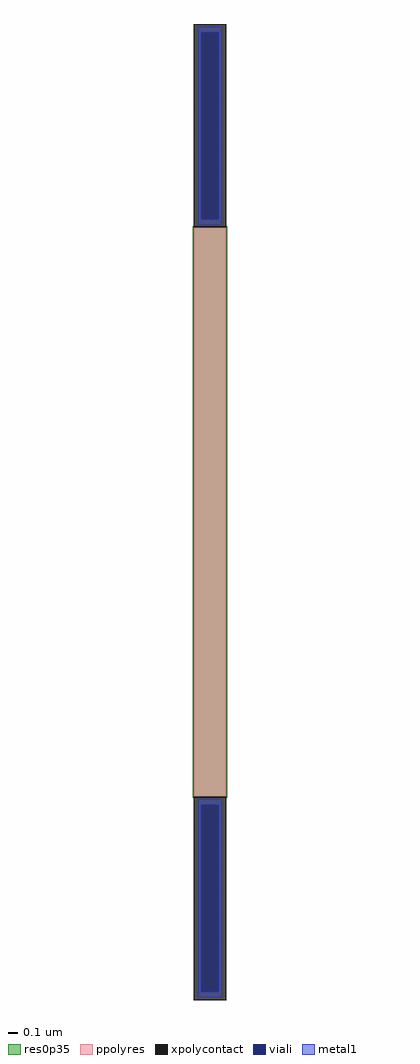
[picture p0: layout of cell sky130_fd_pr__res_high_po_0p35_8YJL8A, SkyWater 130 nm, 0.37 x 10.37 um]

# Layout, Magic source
magic
tech sky130A
magscale 1 2
<< xpolycontact >>
rect -35 605 35 1037
rect -35 -1037 35 -605
<< ppolyres >>
rect -35 -605 35 605
<< viali >>
rect -19 622 19 1019
rect -19 -1019 19 -622
<< metal1 >>
rect -25 1019 25 1031
rect -25 622 -19 1019
rect 19 622 25 1019
rect -25 610 25 622
rect -25 -622 25 -610
rect -25 -1019 -19 -622
rect 19 -1019 25 -622
rect -25 -1031 25 -1019
<< res0p35 >>
rect -37 -607 37 607
<< properties >>
string gencell sky130_fd_pr__res_high_po_0p35
string parameters w 0.350 l 6.05 m 1 nx 1 wmin 0.350 lmin 0.50 rho 319.8 val 5.637k dummy 0 dw 0.0 term 19.188 sterm 0.0 caplen 0 guard 0 glc 0 grc 0 gtc 0 gbc 0 compatible {sky130_fd_pr__res_high_po_0p35  sky130_fd_pr__res_high_po_0p69 sky130_fd_pr__res_high_po_1p41  sky130_fd_pr__res_high_po_2p85 sky130_fd_pr__res_high_po_5p73} full_metal 0 wmax 0.350 vias 1 viagb 0 viagt 0 viagl 0 viagr 0
string library sky130
<< end >>
